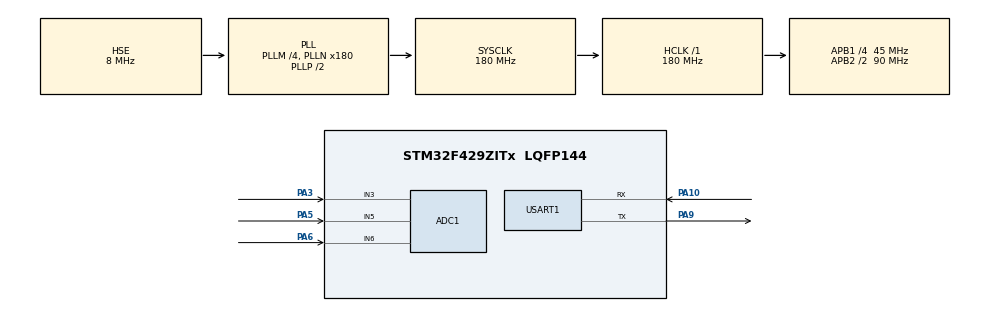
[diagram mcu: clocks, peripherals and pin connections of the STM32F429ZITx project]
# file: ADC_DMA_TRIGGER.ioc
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ADC1.Channel-0\#ChannelRegularConversion=ADC_CHANNEL_3
ADC1.Channel-1\#ChannelRegularConversion=ADC_CHANNEL_5
ADC1.Channel-2\#ChannelRegularConversion=ADC_CHANNEL_6
ADC1.Channel-3\#ChannelRegularConversion=ADC_CHANNEL_TEMPSENSOR
ADC1.ContinuousConvMode=DISABLE
ADC1.DMAContinuousRequests=ENABLE
ADC1.ExternalTrigConv=ADC_EXTERNALTRIGCONV_T2_TRGO
ADC1.NbrOfConversion=4
ADC1.NbrOfConversionFlag=1
ADC1.Rank-0\#ChannelRegularConversion=1
ADC1.Rank-1\#ChannelRegularConversion=2
ADC1.Rank-2\#ChannelRegularConversion=3
ADC1.Rank-3\#ChannelRegularConversion=4
ADC1.SamplingTime-0\#ChannelRegularConversion=ADC_SAMPLETIME_15CYCLES
ADC1.SamplingTime-1\#ChannelRegularConversion=ADC_SAMPLETIME_15CYCLES
ADC1.SamplingTime-2\#ChannelRegularConversion=ADC_SAMPLETIME_15CYCLES
ADC1.SamplingTime-3\#ChannelRegularConversion=ADC_SAMPLETIME_15CYCLES
ADC1.ScanConvMode=ENABLE
ADC1.master=1
Dma.ADC1.0.Direction=DMA_PERIPH_TO_MEMORY
Dma.ADC1.0.FIFOMode=DMA_FIFOMODE_DISABLE
Dma.ADC1.0.Instance=DMA2_Stream0
Dma.ADC1.0.MemDataAlignment=DMA_MDATAALIGN_HALFWORD
Dma.ADC1.0.MemInc=DMA_MINC_ENABLE
Dma.ADC1.0.Mode=DMA_CIRCULAR
Dma.ADC1.0.PeriphDataAlignment=DMA_PDATAALIGN_HALFWORD
Dma.ADC1.0.PeriphInc=DMA_PINC_DISABLE
Dma.ADC1.0.Priority=DMA_PRIORITY_VERY_HIGH
Dma.Request0=ADC1
Mcu.Family=STM32F4
Mcu.Name=STM32F429ZITx
Mcu.Package=LQFP144
NVIC.ADC_IRQn=true\:0\:0\:false\:true\:true\:3\:true\:true\:true
NVIC.DMA2_Stream0_IRQn=true\:0\:0\:false\:true\:true\:1\:false\:true\:true
NVIC.PriorityGroup=NVIC_PRIORITYGROUP_4
NVIC.TIM2_IRQn=true\:0\:0\:false\:true\:true\:2\:true\:true\:true
PA10.Mode=Asynchronous
PA10.Signal=USART1_RX
PA3.Signal=ADCx_IN3
PA5.Signal=ADCx_IN5
PA6.Signal=ADCx_IN6
PA9.Mode=Asynchronous
PA9.Signal=USART1_TX
PH0/OSC_IN.Mode=HSE-External-Oscillator
PH0/OSC_IN.Signal=RCC_OSC_IN
PH1/OSC_OUT.Mode=HSE-External-Oscillator
PH1/OSC_OUT.Signal=RCC_OSC_OUT
ProjectManager.HeapSize=0x200
ProjectManager.StackSize=0x400
ProjectManager.TargetToolchain=STM32CubeIDE
RCC.48MHZClocksFreq_Value=90000000
RCC.AHBFreq_Value=180000000
RCC.APB1CLKDivider=RCC_HCLK_DIV4
RCC.APB1Freq_Value=45000000
RCC.APB1TimFreq_Value=90000000
RCC.APB2CLKDivider=RCC_HCLK_DIV2
RCC.APB2Freq_Value=90000000
RCC.APB2TimFreq_Value=180000000
RCC.CortexFreq_Value=180000000
RCC.HCLKFreq_Value=180000000
RCC.HSE_VALUE=8000000
RCC.HSI_VALUE=16000000
RCC.LSE_VALUE=32768
RCC.PLLM=4
RCC.PLLN=180
RCC.PLLSourceVirtual=RCC_PLLSOURCE_HSE
RCC.SYSCLKFreq_VALUE=180000000
RCC.SYSCLKSource=RCC_SYSCLKSOURCE_PLLCLK
RCC.VCOOutputFreq_Value=360000000
SH.ADCx_IN3.0=ADC1_IN3,IN3
SH.ADCx_IN5.0=ADC1_IN5,IN5
SH.ADCx_IN6.0=ADC1_IN6,IN6
TIM2.Period=1
TIM2.Prescaler=44999
TIM2.TIM_MasterOutputTrigger=TIM_TRGO_UPDATE
USART1.VirtualMode=VM_ASYNC
VP_ADC1_TempSens_Input.Mode=IN-TempSens
VP_TIM2_VS_ClockSourceINT.Mode=Internal
board=custom

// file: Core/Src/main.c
/* USER CODE BEGIN Header */
/**
  ******************************************************************************
  * @file           : main.c
  * @brief          : Main program body
  ******************************************************************************
  * @attention
  *
  * Copyright (c) 2022 STMicroelectronics.
  * All rights reserved.
  *
  * This software is licensed under terms that can be found in the LICENSE file
  * in the root directory of this software component.
  * If no LICENSE file comes with this software, it is provided AS-IS.
  *
  ******************************************************************************
  */
/* USER CODE END Header */
#include "main.h"

/* USER CODE BEGIN Includes */
#include "stdio.h"
#include "stdlib.h"
/* USER CODE END Includes */

ADC_HandleTypeDef hadc1;
DMA_HandleTypeDef hdma_adc1;
TIM_HandleTypeDef htim2;
UART_HandleTypeDef huart1;

/* USER CODE BEGIN PV */

#define NO_SAMPLE 100
uint16_t adcBuff[NO_SAMPLE];
uint16_t userBuff[NO_SAMPLE];
int i=0;

int __io_putchar (int ch)
{
  (void)HAL_UART_Transmit(&huart1, (uint8_t*)&ch, 1, 100);
  return ch;
}

void HAL_ADC_ConvHalfCpltCallback(ADC_HandleTypeDef* hadc)
{
memcpy(&userBuff[0], & adcBuff[0], NO_SAMPLE/2);
}

void HAL_ADC_ConvCpltCallback(ADC_HandleTypeDef* hadc)
{
memcpy(&userBuff[NO_SAMPLE/2], & adcBuff[NO_SAMPLE/2], NO_SAMPLE/2);

printf("%d ",userBuff[i]);

	if(i==3)
	{
		printf("\r\n");
		//HAL_ADC_Stop(&hadc1);
	}

	i++;

	if(i>3)
		i=0;
}

/* USER CODE END PV */

void SystemClock_Config(void);
static void MX_GPIO_Init(void);
static void MX_DMA_Init(void);
static void MX_ADC1_Init(void);
static void MX_USART1_UART_Init(void);
static void MX_TIM2_Init(void);
static void MX_NVIC_Init(void);

int main(void)
{

  /* MCU Configuration--------------------------------------------------------*/

  /* Reset of all peripherals, Initializes the Flash interface and the Systick. */
  HAL_Init();

  /* Configure the system clock */
  SystemClock_Config();

  /* Initialize all configured peripherals */
  MX_GPIO_Init();
  MX_DMA_Init();
  MX_ADC1_Init();
  MX_USART1_UART_Init();
  MX_TIM2_Init();

  /* Initialize interrupts */
  MX_NVIC_Init();
  /* USER CODE BEGIN 2 */
  HAL_ADC_Start_DMA(&hadc1,(uint32_t*)adcBuff,NO_SAMPLE);

  //HAL_TIM_Base_Start(&htim2);

  HAL_TIM_Base_Start_IT(&htim2);

  //HAL_ADC_Start(&hadc1);

  /* USER CODE END 2 */

  /* Infinite loop */
  while (1)
  {

  }
}

void SystemClock_Config(void)
{
  RCC_OscInitTypeDef RCC_OscInitStruct = {0};
  RCC_ClkInitTypeDef RCC_ClkInitStruct = {0};

  /** Configure the main internal regulator output voltage
  */
  __HAL_RCC_PWR_CLK_ENABLE();
  __HAL_PWR_VOLTAGESCALING_CONFIG(PWR_REGULATOR_VOLTAGE_SCALE1);

  /** Initializes the RCC Oscillators according to the specified parameters
  * in the RCC_OscInitTypeDef structure.
  */
  RCC_OscInitStruct.OscillatorType = RCC_OSCILLATORTYPE_HSE;
  RCC_OscInitStruct.HSEState = RCC_HSE_ON;
  RCC_OscInitStruct.PLL.PLLState = RCC_PLL_ON;
  RCC_OscInitStruct.PLL.PLLSource = RCC_PLLSOURCE_HSE;
  RCC_OscInitStruct.PLL.PLLM = 4;
  RCC_OscInitStruct.PLL.PLLN = 180;
  RCC_OscInitStruct.PLL.PLLP = RCC_PLLP_DIV2;
  RCC_OscInitStruct.PLL.PLLQ = 4;
  if (HAL_RCC_OscConfig(&RCC_OscInitStruct) != HAL_OK)
  {
    Error_Handler();
  }

  /** Activate the Over-Drive mode
  */
  if (HAL_PWREx_EnableOverDrive() != HAL_OK)
  {
    Error_Handler();
  }

  /** Initializes the CPU, AHB and APB buses clocks
  */
  RCC_ClkInitStruct.ClockType = RCC_CLOCKTYPE_HCLK|RCC_CLOCKTYPE_SYSCLK
                              |RCC_CLOCKTYPE_PCLK1|RCC_CLOCKTYPE_PCLK2;
  RCC_ClkInitStruct.SYSCLKSource = RCC_SYSCLKSOURCE_PLLCLK;
  RCC_ClkInitStruct.AHBCLKDivider = RCC_SYSCLK_DIV1;
  RCC_ClkInitStruct.APB1CLKDivider = RCC_HCLK_DIV4;
  RCC_ClkInitStruct.APB2CLKDivider = RCC_HCLK_DIV2;

  if (HAL_RCC_ClockConfig(&RCC_ClkInitStruct, FLASH_LATENCY_5) != HAL_OK)
  {
    Error_Handler();
  }
}

/**
  * @brief NVIC Configuration.
  * @retval None
  */
static void MX_NVIC_Init(void)
{
  /* DMA2_Stream0_IRQn interrupt configuration */
  HAL_NVIC_SetPriority(DMA2_Stream0_IRQn, 0, 0);
  HAL_NVIC_EnableIRQ(DMA2_Stream0_IRQn);
  /* TIM2_IRQn interrupt configuration */
  HAL_NVIC_SetPriority(TIM2_IRQn, 0, 0);
  HAL_NVIC_EnableIRQ(TIM2_IRQn);
  /* ADC_IRQn interrupt configuration */
  HAL_NVIC_SetPriority(ADC_IRQn, 0, 0);
  HAL_NVIC_EnableIRQ(ADC_IRQn);
}

static void MX_ADC1_Init(void)
{

  ADC_ChannelConfTypeDef sConfig = {0};

  /** Configure the global features of the ADC (Clock, Resolution, Data Alignment and number of conversion)
  */
  hadc1.Instance = ADC1;
  hadc1.Init.ClockPrescaler = ADC_CLOCK_SYNC_PCLK_DIV4;
  hadc1.Init.Resolution = ADC_RESOLUTION_12B;
  hadc1.Init.ScanConvMode = ENABLE;
  hadc1.Init.ContinuousConvMode = DISABLE;
  hadc1.Init.DiscontinuousConvMode = DISABLE;
  hadc1.Init.ExternalTrigConvEdge = ADC_EXTERNALTRIGCONVEDGE_RISING;
  hadc1.Init.ExternalTrigConv = ADC_EXTERNALTRIGCONV_T2_TRGO;
  hadc1.Init.DataAlign = ADC_DATAALIGN_RIGHT;
  hadc1.Init.NbrOfConversion = 4;
  hadc1.Init.DMAContinuousRequests = ENABLE;
  hadc1.Init.EOCSelection = ADC_EOC_SINGLE_CONV;
  if (HAL_ADC_Init(&hadc1) != HAL_OK)
  {
    Error_Handler();
  }

  /** Configure for the selected ADC regular channel its corresponding rank in the sequencer and its sample time.
  */
  sConfig.Channel = ADC_CHANNEL_3;
  sConfig.Rank = 1;
  sConfig.SamplingTime = ADC_SAMPLETIME_15CYCLES;
  if (HAL_ADC_ConfigChannel(&hadc1, &sConfig) != HAL_OK)
  {
    Error_Handler();
  }

  /** Configure for the selected ADC regular channel its corresponding rank in the sequencer and its sample time.
  */
  sConfig.Channel = ADC_CHANNEL_5;
  sConfig.Rank = 2;
  if (HAL_ADC_ConfigChannel(&hadc1, &sConfig) != HAL_OK)
  {
    Error_Handler();
  }

  /** Configure for the selected ADC regular channel its corresponding rank in the sequencer and its sample time.
  */
  sConfig.Channel = ADC_CHANNEL_6;
  sConfig.Rank = 3;
  if (HAL_ADC_ConfigChannel(&hadc1, &sConfig) != HAL_OK)
  {
    Error_Handler();
  }

  /** Configure for the selected ADC regular channel its corresponding rank in the sequencer and its sample time.
  */
  sConfig.Channel = ADC_CHANNEL_TEMPSENSOR;
  sConfig.Rank = 4;
  if (HAL_ADC_ConfigChannel(&hadc1, &sConfig) != HAL_OK)
  {
    Error_Handler();
  }

}

static void MX_TIM2_Init(void)
{

  TIM_ClockConfigTypeDef sClockSourceConfig = {0};
  TIM_MasterConfigTypeDef sMasterConfig = {0};

  htim2.Instance = TIM2;
  htim2.Init.Prescaler = 44999;
  htim2.Init.CounterMode = TIM_COUNTERMODE_UP;
  htim2.Init.Period = 1;
  htim2.Init.ClockDivision = TIM_CLOCKDIVISION_DIV1;
  htim2.Init.AutoReloadPreload = TIM_AUTORELOAD_PRELOAD_DISABLE;
  if (HAL_TIM_Base_Init(&htim2) != HAL_OK)
  {
    Error_Handler();
  }
  sClockSourceConfig.ClockSource = TIM_CLOCKSOURCE_INTERNAL;
  if (HAL_TIM_ConfigClockSource(&htim2, &sClockSourceConfig) != HAL_OK)
  {
    Error_Handler();
  }
  sMasterConfig.MasterOutputTrigger = TIM_TRGO_UPDATE;
  sMasterConfig.MasterSlaveMode = TIM_MASTERSLAVEMODE_DISABLE;
  if (HAL_TIMEx_MasterConfigSynchronization(&htim2, &sMasterConfig) != HAL_OK)
  {
    Error_Handler();
  }

}

static void MX_USART1_UART_Init(void)
{

  huart1.Instance = USART1;
  huart1.Init.BaudRate = 115200;
  huart1.Init.WordLength = UART_WORDLENGTH_8B;
  huart1.Init.StopBits = UART_STOPBITS_1;
  huart1.Init.Parity = UART_PARITY_NONE;
  huart1.Init.Mode = UART_MODE_TX_RX;
  huart1.Init.HwFlowCtl = UART_HWCONTROL_NONE;
  huart1.Init.OverSampling = UART_OVERSAMPLING_16;
  if (HAL_UART_Init(&huart1) != HAL_OK)
  {
    Error_Handler();
  }

}

static void MX_DMA_Init(void)
{

  /* DMA controller clock enable */
  __HAL_RCC_DMA2_CLK_ENABLE();

}

static void MX_GPIO_Init(void)
{

  /* GPIO Ports Clock Enable */
  __HAL_RCC_GPIOH_CLK_ENABLE();
  __HAL_RCC_GPIOA_CLK_ENABLE();

}

/* USER CODE BEGIN 4 */
/*
void HAL_TIM_PeriodElapsedCallback(TIM_HandleTypeDef *htim)
{
	adcBuff[i] = HAL_ADC_GetValue(&hadc1);
  printf("%d ",adcBuff[i]);

  	if(i==3)
  	{
  		printf("\r\n");
  		//HAL_ADC_Stop(&hadc1);
  	}

  	i++;

  	if(i>3)
  		i=0;

  	HAL_TIM_Base_Start_IT(&htim2);

}
*/

/*
volatile uint32_t old_tick = 0;
void HAL_TIM_PeriodElapsedCallback(TIM_HandleTypeDef *htim)
{
  uint32_t new_tick;

  if(htim->Instance == TIM2){
    new_tick = HAL_GetTick();
    printf("%d \r\n", (int)(new_tick - old_tick));
    old_tick = new_tick;
  }
}
*/
/* USER CODE END 4 */

void Error_Handler(void)
{
  __disable_irq();
  while (1)
  {
  }
}
